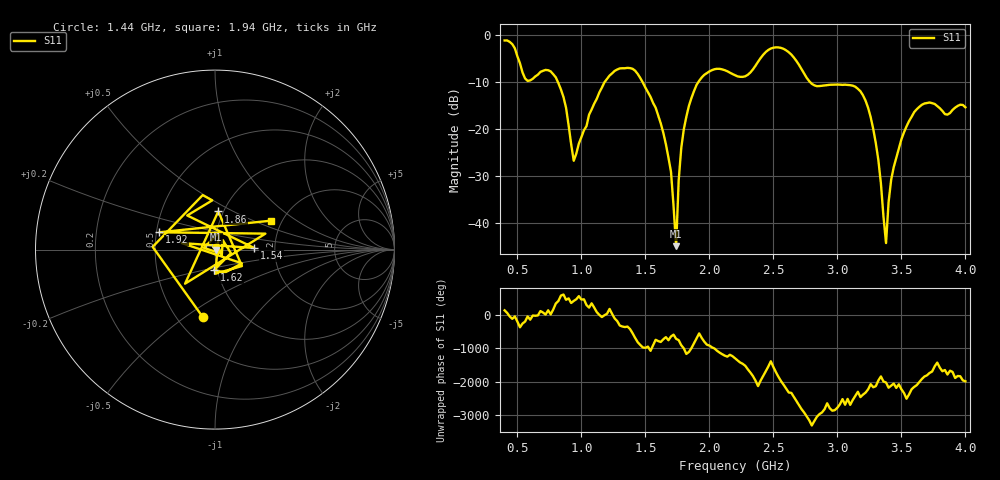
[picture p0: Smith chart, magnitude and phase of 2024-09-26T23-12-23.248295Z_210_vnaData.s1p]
!Created with skrf (http://scikit-rf.org).
# Hz S RI R 50.0
!freq ReS11 ImS11
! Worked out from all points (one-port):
!   181 points, 400 MHz to 4 GHz, reference 50 ohm
!   lowest |S11| = -45.0 dB at 1.74 GHz (marker M1), VSWR 1.01, Z = 50.6 + j0.00778 ohm
!   |S11| at or under -10 dB: 815.8 MHz to 1.182 GHz (366.6 MHz wide, 36.7 % of centre); 1.477 GHz to 1.915 GHz (437.5 MHz wide, 25.8 % of centre); 2.785 GHz to end of sweep
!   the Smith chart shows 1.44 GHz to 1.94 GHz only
!   S11 on the Smith chart (normalised r, x): 1.44 GHz: 0.67, -0.59; 1.54 GHz: 1.56, +0.03; 1.62 GHz: 0.96, -0.22; 1.86 GHz: 0.95, +0.42; 1.92 GHz: 0.52, +0.11; 1.94 GHz: 1.76, +0.65
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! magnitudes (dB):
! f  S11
! 400 MHz  -1.2
! 560 MHz  -9.3
! 760 MHz  -7.8
! 860 MHz  -13.2
! 940 MHz  -26.8
! 1.14 GHz  -12.3
! 1.3 GHz  -7.1
! 1.44 GHz  -8.3
! 1.54 GHz  -13.2
! 1.62 GHz  -18.8
! 1.7 GHz  -29.2
! 1.74 GHz  -45.0
! 1.76 GHz  -31.0
! 1.8 GHz  -20.1
! 1.86 GHz  -13.4
! 1.92 GHz  -9.8
! 1.94 GHz  -9.0
! 2.2 GHz  -8.6
! 2.5 GHz  -2.7
! 2.66 GHz  -4.8
! 2.82 GHz  -10.7
! 3.1 GHz  -10.7
! 3.26 GHz  -17.5
! 3.32 GHz  -26.6
! 3.38 GHz  -44.3
! 3.42 GHz  -30.8
! 3.56 GHz  -18.3
! 4 GHz  -15.4
